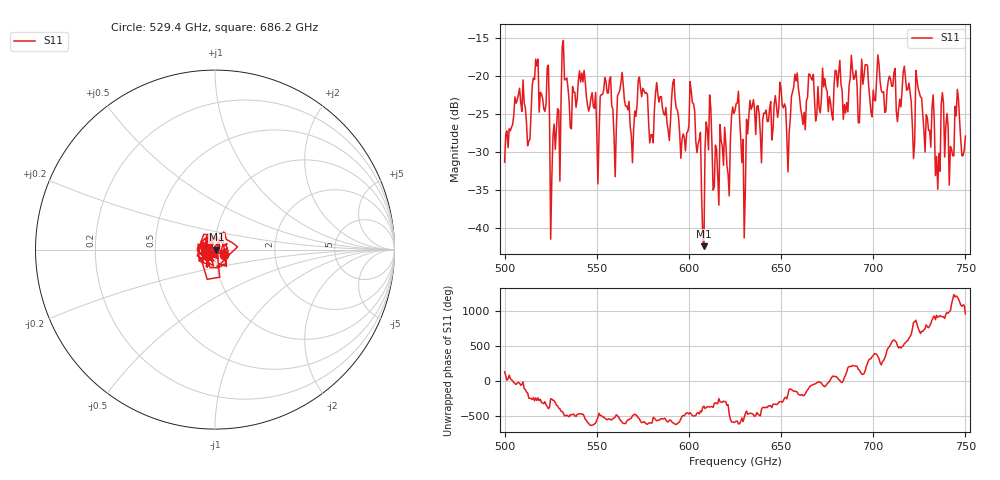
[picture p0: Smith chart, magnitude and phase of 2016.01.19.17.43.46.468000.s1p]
!Created with skrf (http://scikit-rf.org).
# GHz S RI R 50.0
!freq ReS11 ImS11
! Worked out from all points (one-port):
!   401 points, 500 GHz to 750 GHz, reference 50 ohm
!   lowest |S11| = -42.3 dB at 608.1 GHz (marker M1), VSWR 1.02, Z = 50.8 - j0.0312 ohm
!   |S11| at or under -10 dB: start of sweep to end of sweep
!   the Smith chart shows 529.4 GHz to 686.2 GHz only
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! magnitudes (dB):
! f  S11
! 500 GHz  -31.3
! 506.9 GHz  -23.1
! 513.1 GHz  -28.5
! 516.9 GHz  -17.8
! 523.1 GHz  -18.9
! 526.2 GHz  -27.8
! 531.2 GHz  -16.1
! 550 GHz  -27.3
! 556.2 GHz  -22.2
! 559.4 GHz  -28.0
! 562.5 GHz  -21.9
! 569.4 GHz  -31.4
! 573.8 GHz  -21.6
! 579.4 GHz  -27.7
! 593.8 GHz  -24.4
! 601.9 GHz  -23.5
! 608.1 GHz  -42.3
! 610.6 GHz  -29.7
! 615 GHz  -29.6
! 625 GHz  -24.5
! 629.4 GHz  -28.3
! 633.8 GHz  -24.4
! 656.2 GHz  -22.0
! 687.5 GHz  -20.3
! 718.8 GHz  -21.7
! 735 GHz  -34.9
! 738.1 GHz  -23.6
! 750 GHz  -27.9
